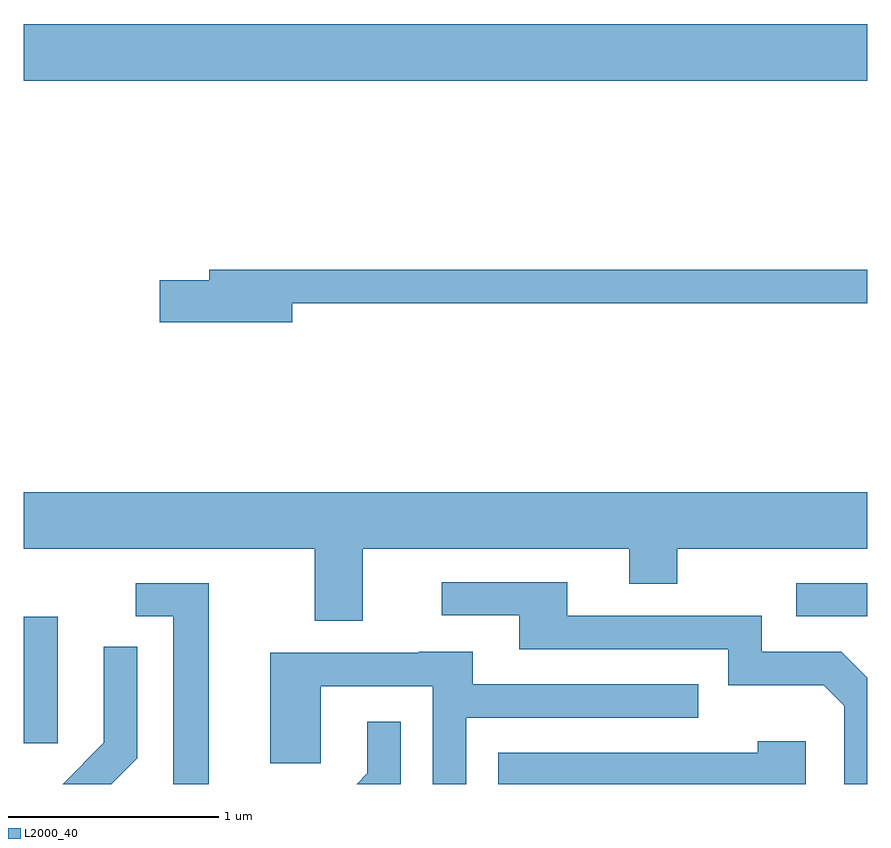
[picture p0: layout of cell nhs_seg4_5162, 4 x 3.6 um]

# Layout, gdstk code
import gdstk
lib = gdstk.Library(unit=1e-6, precision=1e-09)
def R(c, l, rs):  # rectangles x0, y0, x1, y1
    for r in rs: c.add(gdstk.rectangle(r[:2], r[2:], *l))
def P(c, l, *ps):  # polygons
    for p in ps: c.add(gdstk.Polygon(p, *l))
L2000_40 = (2000, 40)

nhs_seg4_5162 = lib.new_cell('nhs_seg4_5162')
R(nhs_seg4_5162, L2000_40, [(335.611,1378.176,335.774,1378.774), (339.273,1378.776,339.611,1378.934), (335.611,1381.316,339.611,1381.584)])
P(nhs_seg4_5162, L2000_40, [(336.884,1380.261),(339.611,1380.261),(339.611,1380.419),(336.491,1380.419),(336.491,1380.369),(336.256,1380.369),(336.256,1380.171),(336.884,1380.171)],
  [(337.219,1379.096),(338.481,1379.096),(338.481,1378.931),(338.709,1378.931),(338.709,1379.096),(339.611,1379.096),(339.611,1379.364),(335.611,1379.364),(335.611,1379.096),(336.991,1379.096),(336.991,1378.756),(337.219,1378.756)],
  [(339.611,1378.485),(339.487,1378.609),(339.109,1378.609),(339.109,1378.779),(338.189,1378.779),(338.189,1378.939),(337.593,1378.939),(337.593,1378.781),(337.961,1378.781),(337.961,1378.621),(338.951,1378.621),(338.951,1378.451),(339.404,1378.451),(339.501,1378.354),(339.501,1377.982),(339.611,1377.982)],
  [(336.489,1378.934),(336.143,1378.934),(336.143,1378.776),(336.321,1378.776),(336.321,1377.982),(336.489,1377.982)],
  [(336.149,1378.104),(336.149,1378.633),(335.991,1378.633),(335.991,1378.177),(335.796,1377.982),(336.027,1377.982)],
  [(337.709,1378.296),(338.808,1378.296),(338.808,1378.454),(337.739,1378.454),(337.739,1378.609),(337.485,1378.609),(337.485,1378.604),(336.781,1378.604),(336.781,1378.081),(337.019,1378.081),(337.019,1378.446),(337.551,1378.446),(337.551,1377.982),(337.709,1377.982)],
  [(337.399,1378.278),(337.241,1378.278),(337.241,1378.032),(337.191,1377.982),(337.399,1377.982)],
  [(339.319,1378.184),(339.091,1378.184),(339.091,1378.129),(337.861,1378.129),(337.861,1377.982),(339.319,1377.982)])

lib.write_gds('nhs_seg4_5162.gds')
